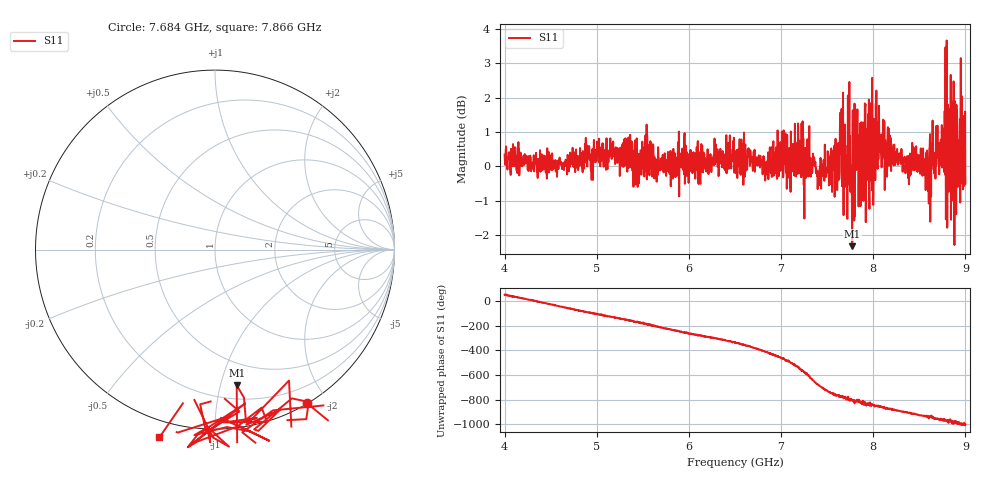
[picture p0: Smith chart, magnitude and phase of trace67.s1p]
! Created with skrf 1.8.0 (http://scikit-rf.org).
# Hz S RI R 50.0
!freq ReS11 ImS11
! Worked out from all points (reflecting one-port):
!   1601 points, 4 GHz to 9 GHz, reference 50 ohm
!   lowest |S11| = -2.3 dB at 7.772 GHz (marker M1), VSWR 7.50, Z = 15.5 - j56.2 ohm
!   phase of S11 starts at 51 deg and turns -1053 deg over the sweep
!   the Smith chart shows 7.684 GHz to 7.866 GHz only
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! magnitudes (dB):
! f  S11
! 4 GHz  0.3
! 4.625 GHz  -0.1
! 4.897 GHz  0.0
! 5.25 GHz  -0.3
! 5.875 GHz  0.1
! 6.5 GHz  0.1
! 7.125 GHz  0.4
! 7.209 GHz  0.7
! 7.262 GHz  0.5
! 7.309 GHz  -0.1
! 7.422 GHz  0.0
! 7.606 GHz  0.3
! 7.666 GHz  1.0
! 7.75 GHz  -0.1
! 7.772 GHz  -2.3
! 7.822 GHz  -0.1
! 7.875 GHz  -0.3
! 7.928 GHz  0.9
! 7.981 GHz  -0.4
! 7.988 GHz  2.6
! 8.053 GHz  0.7
! 8.375 GHz  0.2
! 8.441 GHz  -0.1
! 8.603 GHz  -1.1
! 8.759 GHz  0.1
! 8.919 GHz  0.0
! 8.972 GHz  0.6
! 9 GHz  -0.5
